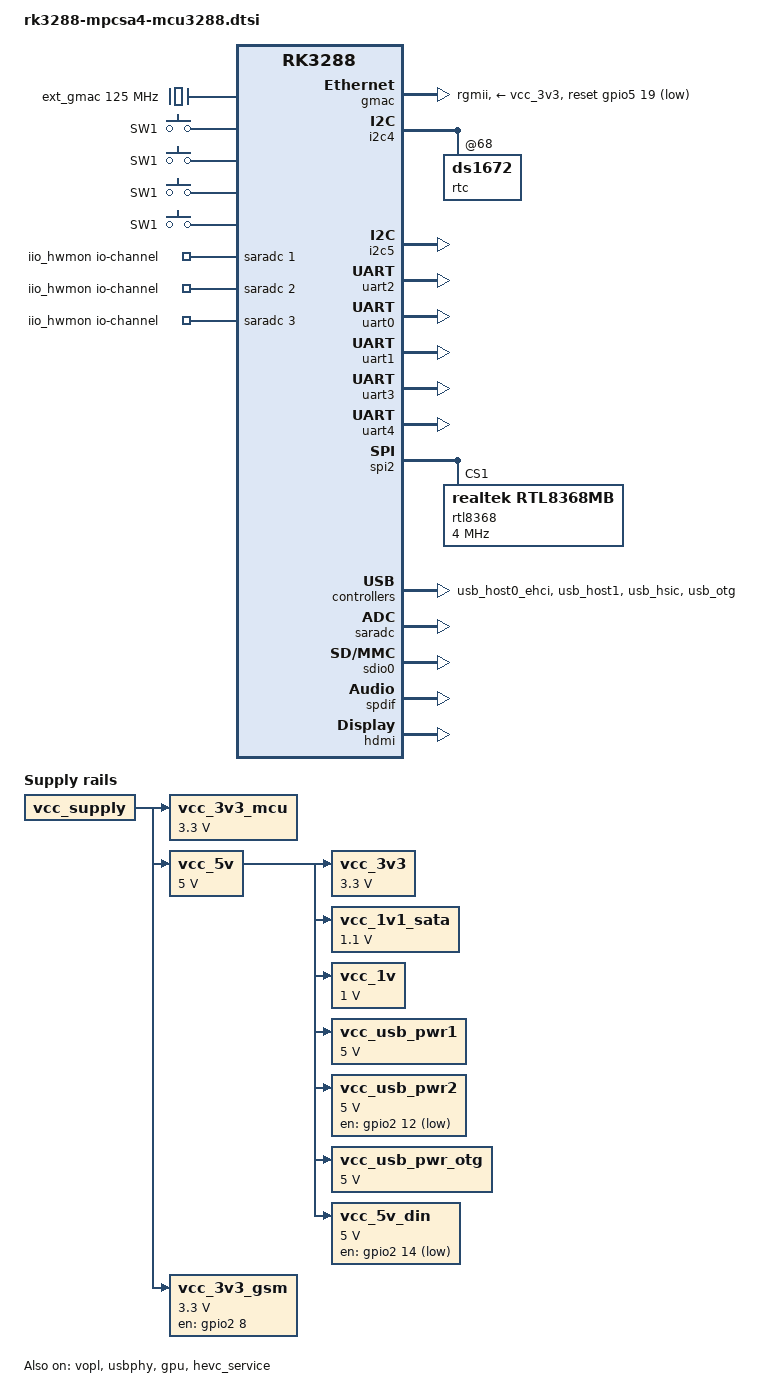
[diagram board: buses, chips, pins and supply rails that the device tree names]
/*
 * (C) Copyright 2017 Embedtronics Oy
 *
 * SPDX-License-Identifier:     GPL-2.0+ X11
 */

/ {
	compatible = "embedtronics,mpcsa4-mcu3288", "rockchip,rk3288";

	chosen {
		stdout-path = "serial2:115200n8";
	};

	ext_gmac: external-gmac-clock {
		compatible = "fixed-clock";
		#clock-cells = <0>;
		clock-frequency = <125000000>;
		clock-output-names = "ext_gmac";
	};

	keys: gpio-keys {
		compatible = "gpio-keys";
		#address-cells = <1>;
		#size-cells = <0>;
		/*autorepeat;*/
		switch@1 {
			label = "SW1";
			linux,code = <101>;
			pinctrl-names = "default";
			pinctrl-0 = <&sw1>;
			debounce-interval = <1000>;
		};
		switch@2 {
			label = "SW1";
			linux,code = <102>;
			pinctrl-names = "default";
			pinctrl-0 = <&sw2>;
			debounce-interval = <1000>;
		};
		switch@3 {
			label = "SW1";
			linux,code = <103>;
			pinctrl-names = "default";
			pinctrl-0 = <&sw3>;
			debounce-interval = <1000>;
		};
		switch@4 {
			label = "SW1";
			linux,code = <104>;
			pinctrl-names = "default";
			pinctrl-0 = <&sw4>;
			debounce-interval = <1000>;
		};
	};

	vcc_supply: vsupply-regulator {
		compatible = "regulator-fixed";
		regulator-name = "vcc_supply";
		/*regulator-min-microvolt = <10000000>;
		regulator-min-microvolt = <38000000>;*/
		regulator-always-on;
		regulator-boot-on;
	};

	vcc_3v3_mcu: v3v3-mcu-regulator {
		compatible = "regulator-fixed";
		regulator-name = "vcc_3v3_mcu";
		regulator-min-microvolt = <3300000>;
		regulator-max-microvolt = <3300000>;
		regulator-always-on;
		regulator-boot-on;
		vin-supply = <&vcc_supply>;
	};

	vcc_5v: v5v-regulator {
		compatible = "regulator-fixed";
		regulator-name = "vcc_5v";
		regulator-min-microvolt = <5000000>;
		regulator-max-microvolt = <5000000>;
		regulator-always-on;
		regulator-boot-on;
		vin-supply = <&vcc_supply>;
	};

	vcc_3v3_gsm: v3v3-gsm-regulator {
		compatible = "regulator-fixed";
		regulator-name = "vcc_3v3_gsm";
		regulator-min-microvolt = <3300000>;
		regulator-max-microvolt = <3300000>;
		enable-active-high;
		pinctrl-names = "default";
		pinctrl-0 = <&gsm_pwr>;
		gpio = <&gpio2 8 GPIO_ACTIVE_HIGH>;
		vin-supply = <&vcc_supply>;
	};

	vcc_3v3: v3v3-regulator {
		compatible = "regulator-fixed";
		regulator-name = "vcc_3v3";
		regulator-min-microvolt = <3300000>;
		regulator-max-microvolt = <3300000>;
		regulator-always-on;
		regulator-boot-on;
		vin-supply = <&vcc_5v>;
	};

	vcc_1v1_sata: v1v1-sata-regulator {
		compatible = "regulator-fixed";
		regulator-name = "vcc_1v1_sata";
		regulator-min-microvolt = <1100000>;
		regulator-max-microvolt = <1100000>;
		regulator-always-on;
		regulator-boot-on;
		vin-supply = <&vcc_5v>;
	};

	vcc_1v: v1v-regulator {
		compatible = "regulator-fixed";
		regulator-name = "vcc_1v";
		regulator-min-microvolt = <1000000>;
		regulator-max-microvolt = <1000000>;
		regulator-always-on;
		regulator-boot-on;
		vin-supply = <&vcc_5v>;
	};

	vcc_usb_pwr1: vcc-usb-pwr1 {
		compatible = "regulator-fixed";
		regulator-name = "vcc_usb_pwr1";
		vin-supply = <&vcc_5v>;
		regulator-min-microvolt = <5000000>;
		regulator-max-microvolt = <5000000>;
		regulator-always-on;
	};

	vcc_usb_pwr2: vcc-usb-pwr2 {
		compatible = "regulator-fixed";
		regulator-name = "vcc_usb_pwr2";
		vin-supply = <&vcc_5v>;
		regulator-min-microvolt = <5000000>;
		regulator-max-microvolt = <5000000>;
		enable-active-low;
		gpio = <&gpio2 12 GPIO_ACTIVE_LOW>;
		pinctrl-names = "default";
		pinctrl-0 = <&usb_en2>;
		regulator-always-on;
	};

	vcc_usb_pwr_otg: vcc-usb-pwr-otg {
		compatible = "regulator-fixed";
		regulator-name = "vcc_usb_pwr_otg";
		vin-supply = <&vcc_5v>;
		regulator-min-microvolt = <5000000>;
		regulator-max-microvolt = <5000000>;
		enable-active-low;
		/*gpio = <&gpio2 12 GPIO_ACTIVE_LOW>;
		pinctrl-names = "default";
		pinctrl-0 = <&otg_vbus_drv>;*/
	};

	vcc_5v_din: vcc-5v-din {
		compatible = "regulator-fixed";
		regulator-name = "vcc_5v_din";
		vin-supply = <&vcc_5v>;
		regulator-min-microvolt = <5000000>;
		regulator-max-microvolt = <5000000>;
		enable-active-low;
		gpio = <&gpio2 14 GPIO_ACTIVE_LOW>;
		pinctrl-names = "default";
		pinctrl-0 = <&din_en>;
		regulator-always-on;
	};

	iio_hwmon {
		compatible = "iio-hwmon";
		io-channels = <&saradc 1>, <&saradc 2>, <&saradc 3>;
		io-channelnames = "vin1", "vin2", "s_id";
	};
};

&gmac {
	phy-mode = "rgmii";
	phy-supply = <&vcc_3v3>;
	clock_in_out = "input";
	snps,reset-gpio = <&gpio5 19 GPIO_ACTIVE_LOW>;
	snps,reset-active-low;
	snps,reset-delays-us = <0 10000 1000000>;
	assigned-clocks = <&cru SCLK_MAC>;
	assigned-clock-parents = <&ext_gmac>;
	pinctrl-names = "default";
	pinctrl-0 = <&rgmii_pins>, <&ethreset>;
	tx_delay = <0x30>;
	rx_delay = <0x10>;
	status = "okay";
};

/* I2C2: */
/*&i2c1 {
	status = "okay";
	usb2512@xx {
	};
};*/

/* I2C1: */
&i2c4 {
	status = "okay";
	
	rtc: ds1672@68 {
	};
};

/* HDMI I2C */
&i2c5 {
	status = "okay";
};

/* SER debug: */
&uart2 {
	u-boot,dm-pre-reloc;
	status = "okay";
	pinctrl-names = "default";
	pinctrl-0 = <&rxdd>, <&txdd>, <&dbg_rst_o>, <&dbg_dbg_o>;
};

/* SER1: */
&uart0 {
	status = "okay";
	pinctrl-names = "default";
	pinctrl-0 = <&rxd1>, <&txd1>, <&rts1>, <&cts1>, <&dtr1>, <&dsr1>;
};

/* SER2: */
&uart1 {
	status = "okay";
	pinctrl-names = "default";
	pinctrl-0 = <&rxd2>, <&txd2>, <&rts2>, <&cts2>, <&dtr2>, <&dsr2>;
};

/* SER3: */
&uart3 {
	status = "okay";
	pinctrl-names = "default";
	pinctrl-0 = <&rxd3>, <&txd3>, <&txe3>;
};

/* SER4: */
&uart4 {
	status = "okay";
	pinctrl-names = "default";
	pinctrl-0 = <&rxd4>, <&txd4>, <&txe4>;
};

/* SPI2: */
&spi2 {
	status = "okay";
	pinctrl-names = "default";
	pinctrl-0 = <&spck2>, <&mosi2>, <&miso2>, <&spi2csled>, <&spi2cseth>;

	mcp23s17 {
		/*compatible = "atmel,at45", "atmel,dataflash";*/
		spi-max-frequency = <15000000>;
		reg = <0>;	/* what's this? */
	};

	rtl8368 {
		spi-max-frequency = <4000000>;
		compatible = "realtek,rtl8368mb";
		reg = <1>;	/* what's this? */
	};
};

&usb_host0_ehci {
	status = "okay";
};

&usb_host1 {
	status = "okay";
};

&usb_hsic {
	status = "okay";
};

&usb_otg {
	status = "okay";
};

&saradc {
	status = "okay";
};

&vopl {
	status = "okay";
};

&vopl_mmu {
	status = "okay";
};

&pinctrl {
	u-boot,dm-pre-reloc;

	ser_dbg: ser-dbg {
		rxdd: serd_rx: serd-rx {
			rockchip,pins = <7 22 RK_FUNC_1 &pcfg_pull_up>;
		};
		txdd: serd_tx: serd-tx {
			rockchip,pins = <7 23 RK_FUNC_1 &pcfg_pull_none>;
		};
		dbg_rst_o: dbg-rst-o {
			rockchip,pins = <7 9 RK_FUNC_GPIO &pcfg_output_low>;
		};
		dbg_dbg_o: dbg-dbg-o {
			rockchip,pins = <5 12 RK_FUNC_GPIO &pcfg_output_low>;
		};
	};

	ser1 {
		rxd1: ser1_rx: ser1-rx {
			rockchip,pins = <4 16 RK_FUNC_1 &pcfg_pull_up>;
		};
		txd1: ser1_tx: ser1-tx {
			rockchip,pins = <4 17 RK_FUNC_1 &pcfg_pull_none>;
		};
		cts1: ser1_cts: ser1-cts {
			rockchip,pins = <4 18 RK_FUNC_1 &pcfg_pull_up>;
		};
		rts1: ser1_rts: ser1-rts {
			rockchip,pins = <4 19 RK_FUNC_1 &pcfg_pull_none>;
		};
		dtr1: ser1_dtr: ser1-dtr {
			rockchip,pins = <1 24 RK_FUNC_GPIO &pcfg_output_high>;
		};
		dsr1: ser1_dsr: ser1-dsr {
			rockchip,pins = <1 25 RK_FUNC_GPIO &pcfg_pull_up>;
		};
	};

	ser2 {
		rxd2: ser2_rx: ser2-rx {
			rockchip,pins = <5 8 RK_FUNC_1 &pcfg_pull_up>;
		};
		txd2: ser2_tx2: ser2-tx {
			rockchip,pins = <5 9 RK_FUNC_1 &pcfg_pull_none>;
		};
		cts2: ser2_cts: ser2-cts {
			rockchip,pins = <5 10 RK_FUNC_1 &pcfg_pull_up>;
		};
		rts2: ser2_rts: ser2-rts {
			rockchip,pins = <5 11 RK_FUNC_1 &pcfg_pull_none>;
		};
		dtr2: ser2_dtr: ser2-dtr {
			rockchip,pins = <1 27 RK_FUNC_GPIO &pcfg_output_high>;
		};
		dsr2: ser2_dsr: ser2-dsr {
			rockchip,pins = <2 0 RK_FUNC_GPIO &pcfg_pull_up>;
		};
	};

	ser3 {
		rxd3: ser3_rx: ser3-rx {
			rockchip,pins = <7 7 RK_FUNC_1 &pcfg_pull_up>;
		};
		txd3: ser3_tx: ser3-tx {
			rockchip,pins = <7 8 RK_FUNC_1 &pcfg_pull_none>;
		};
		txe3: ser3_txe: ser3-txe {
			rockchip,pins = <7 10 RK_FUNC_1 &pcfg_pull_none>;
		};
	};

	ser4 {
		rxd4: ser4_rx: ser4-rx {
			rockchip,pins = <5 15 3 &pcfg_pull_up>;
		};
		txd4: ser4_tx: ser4-tx {
			rockchip,pins = <5 14 3 &pcfg_pull_none>;
		};
		txe4: ser4_txe: ser4-txe {
			rockchip,pins = <5 13 3 &pcfg_pull_none>;
		};
	};

	analog_io: analog-io {
		adc_clk: adc-clk {
			rockchip,pins = <8 0 RK_FUNC_GPIO &pcfg_output_low>;
		};
		adc_data: adc-data {
			rockchip,pins = <8 1 RK_FUNC_GPIO &pcfg_pull_up>;
		};
		adc_a0: adc-a0 {
			rockchip,pins = <0 13 RK_FUNC_GPIO &pcfg_output_low>;
		};
		adc_a1: adc-a1 {
			rockchip,pins = <0 14 RK_FUNC_GPIO &pcfg_output_low>;
		};
		adc_gain: adc-gain {
			rockchip,pins = <4 31 RK_FUNC_GPIO &pcfg_output_low>;
		};
		adc_boost: adc-boost {
			rockchip,pins = <4 28 RK_FUNC_GPIO &pcfg_output_high>;
		};
	};

	spi2 {
		spck2: spi2_clk: spi2-clk {
			rockchip,pins = <8 6 RK_FUNC_1 &pcfg_pull_up>;
		};
		spi2csled: spi2_cs_led: spi2-cs-led {
			rockchip,pins = <8 7 RK_FUNC_1 &pcfg_pull_up>;
		};
		miso2: spi2_miso: spi2-miso {
			rockchip,pins = <8 8 RK_FUNC_1 &pcfg_pull_up>;
		};
		mosi2: spi2_mosi: spi2-mosi {
			rockchip,pins = <8 9 RK_FUNC_1 &pcfg_pull_up>;
		};
		spi2cseth: spi2_cs_eth: spi2-cs-eth {
			rockchip,pins = <0 17 RK_FUNC_GPIO &pcfg_output_high>;
		};
	};

	digital_io: digital-io {
		din1: din_1: din-1 {
			rockchip,pins = <1 26 RK_FUNC_GPIO &pcfg_pull_none>;
		};
		din2: din_2: din-2 {
			rockchip,pins = <2 1 RK_FUNC_GPIO &pcfg_pull_none>;
		};
		din3: din_3: din-3 {
			rockchip,pins = <2 2 RK_FUNC_GPIO &pcfg_pull_none>;
		};
		din4: din_4: din-4 {
			rockchip,pins = <2 3 RK_FUNC_GPIO &pcfg_pull_none>;
		};
		din5: din_5: din-5 {
			rockchip,pins = <2 4 RK_FUNC_GPIO &pcfg_pull_none>;
		};
		din6: din_6: din-6 {
			rockchip,pins = <2 5 RK_FUNC_GPIO &pcfg_pull_none>;
		};
		din7: din_7: din-7 {
			rockchip,pins = <2 6 RK_FUNC_GPIO &pcfg_pull_none>;
		};
		din8: din_8: din-8 {
			rockchip,pins = <2 7 RK_FUNC_GPIO &pcfg_pull_none>;
		};
		sw1: sw_1: sw-1 {
			rockchip,pins = <0 5 RK_FUNC_GPIO &pcfg_pull_none>;
		};
		sw2: sw_2: sw-2 {
			rockchip,pins = <0 6 RK_FUNC_GPIO &pcfg_pull_none>;
		};
		sw3: sw_3: sw-3 {
			rockchip,pins = <0 7 RK_FUNC_GPIO &pcfg_pull_none>;
		};
		sw4: sw_4: sw-4 {
			rockchip,pins = <0 8 RK_FUNC_GPIO &pcfg_pull_none>;
		};
		k701: k_701: k-701 {
			rockchip,pins = <0 9 RK_FUNC_GPIO &pcfg_output_low>;
		};
		k702: k_702: k-702 {
			rockchip,pins = <0 11 RK_FUNC_GPIO &pcfg_output_low>;
		};
		din_oc: din-oc {
			rockchip,pins = <2 13 RK_FUNC_GPIO &pcfg_pull_up>;
		};
		din_en: din-en {
			rockchip,pins = <2 14 RK_FUNC_GPIO &pcfg_output_low>;
		};
		led_sw: led-sw {
			rockchip,pins = <4 25 RK_FUNC_GPIO &pcfg_pull_up>;
		};
	};

	expansion_io: expansion-io {
		s_rd: s-rd {
			rockchip,pins = <0 10 RK_FUNC_GPIO &pcfg_pull_down>;
		};
		s_rk: s-rk {
			rockchip,pins = <8 2 RK_FUNC_GPIO &pcfg_pull_down>;
		};
		s_rf: s-rf {
			rockchip,pins = <7 0 RK_FUNC_GPIO &pcfg_pull_down>;
		};
		s_td: s-td {
			rockchip,pins = <7 1 RK_FUNC_GPIO &pcfg_pull_down>;
		};
		s_tk: s-tk {
			rockchip,pins = <7 2 RK_FUNC_GPIO &pcfg_pull_down>;
		};
		s_tf: s-tf {
			rockchip,pins = <7 3 RK_FUNC_GPIO &pcfg_pull_down>;
		};
		exp0 {
			rockchip,pins = <7 4 RK_FUNC_GPIO &pcfg_pull_down>;
		};
		exp1 {
			rockchip,pins = <7 6 RK_FUNC_GPIO &pcfg_pull_down>;
		};
		tamper_sw: tamper-sw {
			rockchip,pins = <7 5 RK_FUNC_GPIO &pcfg_pull_none>;
		};
	};

	gsm {
		gsm_pwr: gsm-pwr {
			rockchip,pins = <2 8 RK_FUNC_GPIO &pcfg_output_low>;
		};
		gsm_reset: gsm-reset {
			rockchip,pins = <4 29 RK_FUNC_GPIO &pcfg_output_low>;
		};
	};

	sata {
		sata_reset: sata-reset {
			rockchip,pins = <2 9 RK_FUNC_GPIO &pcfg_output_high>;
		};
	};

	usb_otg {
		otg_oc: otg-oc {
			rockchip,pins = <2 10 RK_FUNC_GPIO &pcfg_pull_up>;
		};
		/*otg_vbus_drv: otg-vbus-drv {
			rockchip,pins = <0 12 RK_FUNC_GPIO &pcfg_pull_none>;
		};*/
	};

	usb_host {
		usb_oc2: usb-oc2 {
			rockchip,pins = <2 11 RK_FUNC_GPIO &pcfg_pull_up>;
		};
		usb_en2: usb-en2 {
			rockchip,pins = <2 12 RK_FUNC_GPIO &pcfg_output_low>;
		};
		/*host_vbus_drv: host-vbus-drv {
			rockchip,pins = <0 14 RK_FUNC_GPIO &pcfg_pull_none>;
		};*/
	};

	gmac {
		ethreset: eth_reset: eth-reset {
			rockchip,pins = <5 19 RK_FUNC_GPIO &pcfg_output_high>;
		};
	};
};

&sdio0 {
	status = "okay";
	
};

&spdif {
	status = "okay";
};

&usbphy {
	status = "okay";
};

&usb_host0_ehci {
	status = "okay";
};

&gpu {
	mali-supply = <&vdd_gpu>;
	status = "okay";
};

&hdmi {
    ddc-i2c-bus = <&i2c5>;
    status = "okay";
};

&hevc_service {
	status = "okay";
};

